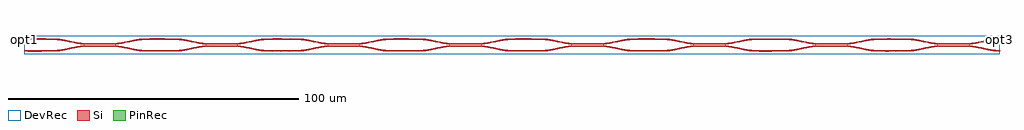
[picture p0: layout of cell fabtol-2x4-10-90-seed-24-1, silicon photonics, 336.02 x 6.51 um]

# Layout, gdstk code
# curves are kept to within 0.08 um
import gdstk
lib = gdstk.Library(unit=1e-6, precision=1e-09)
def R(c, l, rs):  # rectangles x0, y0, x1, y1
    for r in rs: c.add(gdstk.rectangle(r[:2], r[2:], *l))
def P(c, l, *ps):  # polygons
    for p in ps: c.add(gdstk.Polygon(p, *l))
Si = (1, 0)
PinRec = (1, 10)
DevRec = (68, 0)

layer_1_0_phase_sec_3_49 = lib.new_cell('layer-1_0_phase_sec_3$49')
P(layer_1_0_phase_sec_3_49, Si, [(5.625,-0.237),(0,-0.225),(0,0.225),(10,0.225),(10,-0.225)])

layer_2_0_phase_sec_0_49 = lib.new_cell('layer-2_0_phase_sec_0$49')
P(layer_2_0_phase_sec_0_49, Si, [(3.941,-0.241),(0,-0.225),(0,0.225),(10,0.225),(10,-0.225)])

layer_0_0_phase_sec_0_49 = lib.new_cell('layer-0_0_phase_sec_0$49')
P(layer_0_0_phase_sec_0_49, Si, [(5.92,-0.24),(0,-0.225),(0,0.225),(10,0.225),(10,-0.225)])

layer_3_0_phase_sec_3_49 = lib.new_cell('layer-3_0_phase_sec_3$49')
P(layer_3_0_phase_sec_3_49, Si, [(2.431,-0.241),(0,-0.225),(0,0.225),(10,0.225),(10,-0.225)])

layer_2_0_phase_sec_1_49 = lib.new_cell('layer-2_0_phase_sec_1$49')
P(layer_2_0_phase_sec_1_49, Si, [(5.659,-0.237),(0,-0.225),(0,0.225),(10,0.225),(10,-0.225)])

layer_0_0_phase_sec_1_49 = lib.new_cell('layer-0_0_phase_sec_1$49')
P(layer_0_0_phase_sec_1_49, Si, [(3.632,-0.252),(0,-0.225),(0,0.225),(10,0.225),(10,-0.225)])

layer_2_0_phase_sec_2_49 = lib.new_cell('layer-2_0_phase_sec_2$49')
P(layer_2_0_phase_sec_2_49, Si, [(2.88,-0.249),(0,-0.225),(0,0.225),(10,0.225),(10,-0.225)])

dc_arm_up_49 = lib.new_cell('dc_arm_up$49')
R(dc_arm_up_49, Si, [(12,0.1,20,0.55)])
P(dc_arm_up_49, Si, [(12,0.1),(10.861,0.137),(9.344,0.292),(2.966,1.532),(1.481,1.712),(0,1.775),(0,2.225),(1.139,2.188),(2.656,2.033),(9.034,0.793),(10.519,0.613),(12,0.55)],
  [(20,0.1),(20,0.55),(21.481,0.613),(22.966,0.793),(29.344,2.033),(30.861,2.188),(32,2.225),(32,1.775),(30.519,1.712),(29.034,1.532),(22.656,0.292),(21.139,0.137)])

dc_arm_down_49 = lib.new_cell('dc_arm_down$49')
R(dc_arm_down_49, Si, [(12,-0.55,20,-0.1)])
P(dc_arm_down_49, Si, [(0,-2.225),(0,-1.775),(1.481,-1.712),(2.966,-1.532),(9.344,-0.292),(10.861,-0.137),(12,-0.1),(12,-0.55),(10.519,-0.613),(9.034,-0.793),(2.656,-2.033),(1.139,-2.188)],
  [(32,-2.225),(30.861,-2.188),(29.344,-2.033),(22.966,-0.793),(21.481,-0.613),(20,-0.55),(20,-0.1),(21.139,-0.137),(22.656,-0.292),(29.034,-1.532),(30.519,-1.712),(32,-1.775)])

dc_49 = lib.new_cell('dc$49')
dc_49.add(gdstk.Reference(dc_arm_up_49, (0,0)))
dc_49.add(gdstk.Reference(dc_arm_down_49, (0,0)))

layer_1_0_phase_sec_1_49 = lib.new_cell('layer-1_0_phase_sec_1$49')
P(layer_1_0_phase_sec_1_49, Si, [(4.337,-0.24),(0,-0.225),(0,0.225),(10,0.225),(10,-0.225)])

layer_2_0_phase_sec_3_49 = lib.new_cell('layer-2_0_phase_sec_3$49')
P(layer_2_0_phase_sec_3_49, Si, [(1.346,-0.23),(0,-0.225),(0,0.225),(10,0.225),(10,-0.225)])

layer_0_0_phase_sec_2_49 = lib.new_cell('layer-0_0_phase_sec_2$49')
P(layer_0_0_phase_sec_2_49, Si, [(3.892,-0.252),(0,-0.225),(0,0.225),(10,0.225),(10,-0.225)])

layer_1_0_phase_sec_2_49 = lib.new_cell('layer-1_0_phase_sec_2$49')
P(layer_1_0_phase_sec_2_49, Si, [(5.124,-0.24),(0,-0.225),(0,0.225),(10,0.225),(10,-0.225)])

layer_0_0_phase_sec_3_49 = lib.new_cell('layer-0_0_phase_sec_3$49')
P(layer_0_0_phase_sec_3_49, Si, [(1.072,-0.226),(0,-0.225),(0,0.225),(10,0.225),(10,-0.225)])

layer_3_0_phase_sec_0_49 = lib.new_cell('layer-3_0_phase_sec_0$49')
P(layer_3_0_phase_sec_0_49, Si, [(0,-0.225),(0,0.225),(10,0.225),(10,-0.225)])

layer_1_0_phase_sec_0_49 = lib.new_cell('layer-1_0_phase_sec_0$49')
P(layer_1_0_phase_sec_0_49, Si, [(3.128,-0.24),(0,-0.225),(0,0.225),(10,0.225),(10,-0.225)])

layer_3_0_phase_sec_1_49 = lib.new_cell('layer-3_0_phase_sec_1$49')
P(layer_3_0_phase_sec_1_49, Si, [(2.144,-0.254),(0,-0.225),(0,0.225),(10,0.225),(10,-0.225)])

layer_3_0_phase_sec_2_49 = lib.new_cell('layer-3_0_phase_sec_2$49')
P(layer_3_0_phase_sec_2_49, Si, [(3.237,-0.237),(0,-0.225),(0,0.225),(10,0.225),(10,-0.225)])

fabtol_2x4_10_90_seed_24 = lib.new_cell('fabtol-2x4-10-90-seed-24-1')
R(fabtol_2x4_10_90_seed_24, DevRec, [(0,-1,336,5.506)])
fabtol_2x4_10_90_seed_24.add(gdstk.FlexPath([(0.01,4.254),(-0.01,4.254)], 0.45, ends="flush", simple_path=True, layer=1, datatype=10))  # PinRec
fabtol_2x4_10_90_seed_24.add(gdstk.FlexPath([(335.99,0.254),(336.01,0.254)], 0.45, ends="flush", simple_path=True, layer=1, datatype=10))  # PinRec
fabtol_2x4_10_90_seed_24.add(gdstk.FlexPath([(335.99,4.254),(336.01,4.254)], 0.45, ends="flush", simple_path=True, layer=1, datatype=10))  # PinRec
fabtol_2x4_10_90_seed_24.add(gdstk.Reference(layer_1_0_phase_sec_3_49, (126,0.254)))
fabtol_2x4_10_90_seed_24.add(gdstk.Reference(layer_2_0_phase_sec_0_49, (168,4.254)))
fabtol_2x4_10_90_seed_24.add(gdstk.Reference(layer_0_0_phase_sec_0_49, (0,4.254)))
fabtol_2x4_10_90_seed_24.add(gdstk.Reference(layer_3_0_phase_sec_3_49, (294,0.254)))
fabtol_2x4_10_90_seed_24.add(gdstk.Reference(layer_2_0_phase_sec_1_49, (168,0.254)))
fabtol_2x4_10_90_seed_24.add(gdstk.Reference(layer_0_0_phase_sec_1_49, (0,0.254)))
fabtol_2x4_10_90_seed_24.add(gdstk.Reference(layer_2_0_phase_sec_2_49, (210,4.254)))
fabtol_2x4_10_90_seed_24.add(gdstk.Reference(dc_49, (10,2.254)))
fabtol_2x4_10_90_seed_24.add(gdstk.Reference(dc_49, (52,2.254)))
fabtol_2x4_10_90_seed_24.add(gdstk.Reference(dc_49, (94,2.254)))
fabtol_2x4_10_90_seed_24.add(gdstk.Reference(dc_49, (136,2.254)))
fabtol_2x4_10_90_seed_24.add(gdstk.Reference(dc_49, (178,2.254)))
fabtol_2x4_10_90_seed_24.add(gdstk.Reference(dc_49, (220,2.254)))
fabtol_2x4_10_90_seed_24.add(gdstk.Reference(dc_49, (262,2.254)))
fabtol_2x4_10_90_seed_24.add(gdstk.Reference(dc_49, (304,2.254)))
fabtol_2x4_10_90_seed_24.add(gdstk.Reference(layer_1_0_phase_sec_1_49, (84,0.254)))
fabtol_2x4_10_90_seed_24.add(gdstk.Reference(layer_2_0_phase_sec_3_49, (210,0.254)))
fabtol_2x4_10_90_seed_24.add(gdstk.Reference(layer_0_0_phase_sec_2_49, (42,4.254)))
fabtol_2x4_10_90_seed_24.add(gdstk.Reference(layer_1_0_phase_sec_2_49, (126,4.254)))
fabtol_2x4_10_90_seed_24.add(gdstk.Reference(layer_0_0_phase_sec_3_49, (42,0.254)))
fabtol_2x4_10_90_seed_24.add(gdstk.Reference(layer_3_0_phase_sec_0_49, (252,4.254)))
fabtol_2x4_10_90_seed_24.add(gdstk.Reference(layer_1_0_phase_sec_0_49, (84,4.254)))
fabtol_2x4_10_90_seed_24.add(gdstk.Reference(layer_3_0_phase_sec_1_49, (252,0.254)))
fabtol_2x4_10_90_seed_24.add(gdstk.Reference(layer_3_0_phase_sec_2_49, (294,4.254)))
fabtol_2x4_10_90_seed_24.add(gdstk.Label('opt1', (0,4.254), layer=1, texttype=10))
fabtol_2x4_10_90_seed_24.add(gdstk.Label('opt3', (336,4.254), layer=1, texttype=10))
fabtol_2x4_10_90_seed_24.add(gdstk.Label('opt4', (336,0.254), layer=1, texttype=10))

lib.write_gds('fabtol-2x4-10-90-seed-24-1.gds')
